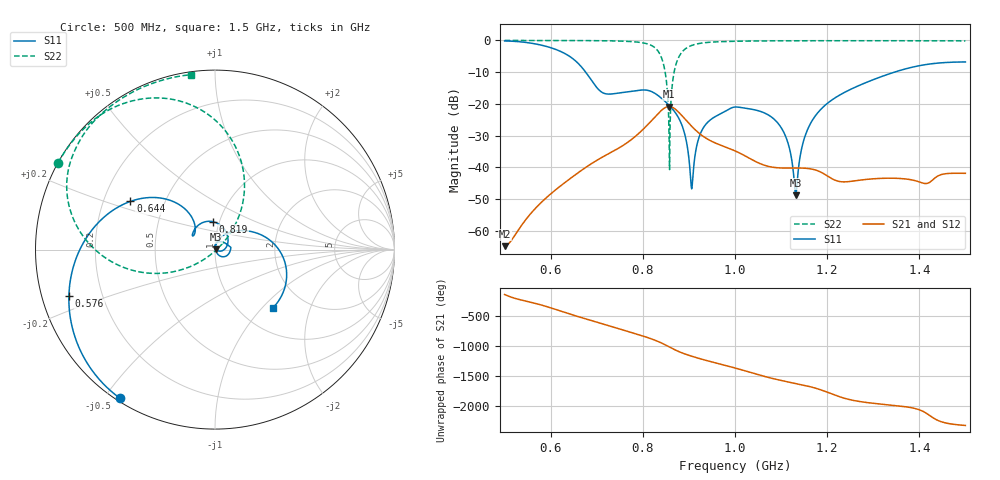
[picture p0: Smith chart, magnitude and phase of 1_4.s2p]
! TOUCHSTONE file generated by CST MICROWAVE STUDIO
! Date and time: Fri Oct  2 16:53:01 2020
! Project name: Scenario_1_Free_Space_out_of_line.cst
! Parameters = {Lambda=346.42; Step_1=17.321; dy1=346; dx1=693; L_HA=400; MT=2.54; Rad_Dielectric=30; Rad_Lower=7.3; Rad_Upper=30; a_HA=580; a_WG=246; b_HA=500; b_WG=121; c_HA=0; c_WG=187; d_feed=85; h_feed=15; h_lower=18; h_upper=40}
! Header version: 2018
! Port assignment regex: !\s*Touchstone port\s*([0-9]+)\s*=\s*(CST MWS port|CST DS port)\s*([0-9]+|Zmin|Zmax)\s*\(\"(.*)\"\)(\s*mode\s*([0-9]+))?.*
! Touchstone port assignment:
! Touchstone port 1 = CST MWS port 1 ("")
! Touchstone port 2 = CST MWS port 2 ("")
# GHz S DB R 50
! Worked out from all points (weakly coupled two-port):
!   1003 points, 500 MHz to 1.5 GHz, reference 50 ohm
!   highest |S21| = -20.85 dB at 857 MHz (marker M1); lowest = -64.9 dB at 500 MHz (marker M2)
!   lowest |S11| = -48.9 dB at 1.132 GHz (marker M3), VSWR 1.01, Z = 50.4 + j0.0829 ohm
!   |S11| at or under -10 dB: 675.9 MHz to 1.346 GHz (670.2 MHz wide, 66.3 % of centre)
!   |S22| runs from -40.8 to 0.0 dB; largest |S21 - S12| = 1.7e-06
!   S11 on the Smith chart (normalised r, x): 500 MHz: 0.01, -0.55; 576 MHz: 0.08, -0.15; 644 MHz: 0.32, +0.24; 819 MHz: 0.93, +0.30; 1.5 GHz: 1.40, -1.15
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0.5  -0.15 -122.5  -64.90 -149.5  -64.90 -149.5  -0.01 151.2
0.576  -1.36 -162.3  -51.61 44.7  -51.61 44.7  -0.01 145.9
0.644  -5.32 150.3  -43.39 -119.5  -43.39 -119.5  -0.03 140.5
0.667  -8.39 133.1  -40.97 -172.0  -40.97 -172.0  -0.04 138.3
0.716  -16.69 139.8  -36.50 78.2  -36.50 78.2  -0.10 132.8
0.819  -16.14 94.0  -25.28 -166.2  -25.28 -166.2  -1.61 101.0
0.834  -17.48 72.7  -22.94 148.8  -22.94 148.8  -3.58 84.9
0.847  -19.07 54.6  -21.32 102.5  -21.32 102.5  -8.89 63.0
0.857  -20.46 40.5  -20.85 62.8  -20.85 62.8  -30.98 31.4
0.874  -23.55 14.0  -22.13 -2.1  -22.13 -2.1  -6.60 -165.5
0.891  -29.60 -15.0  -24.72 -54.5  -24.72 -54.5  -2.80 175.4
0.906  -46.82 36.7  -27.09 -92.8  -27.09 -92.8  -1.58 165.0
0.932  -27.40 71.3  -30.36 -151.3  -30.36 -151.3  -0.75 153.9
1  -21.00 8.3  -34.84 71.9  -34.84 71.9  -0.26 140.3
1.094  -26.25 -49.9  -40.19 -124.6  -40.19 -124.6  -0.12 130.2
1.115  -32.38 -60.7  -40.27 -158.9  -40.27 -158.9  -0.11 128.4
1.132  -48.85 13.2  -40.25 174.7  -40.25 174.7  -0.11 127.0
1.148  -32.09 79.4  -40.28 148.9  -40.28 148.9  -0.10 125.7
1.167  -25.40 72.2  -40.59 113.6  -40.59 113.6  -0.10 124.2
1.23  -16.99 45.6  -44.58 -53.1  -44.58 -53.1  -0.09 119.4
1.334  -10.58 12.6  -43.46 179.7  -43.46 179.7  -0.09 111.5
1.5  -6.78 -45.3  -41.92 -161.7  -41.92 -161.7  -0.14 97.9
